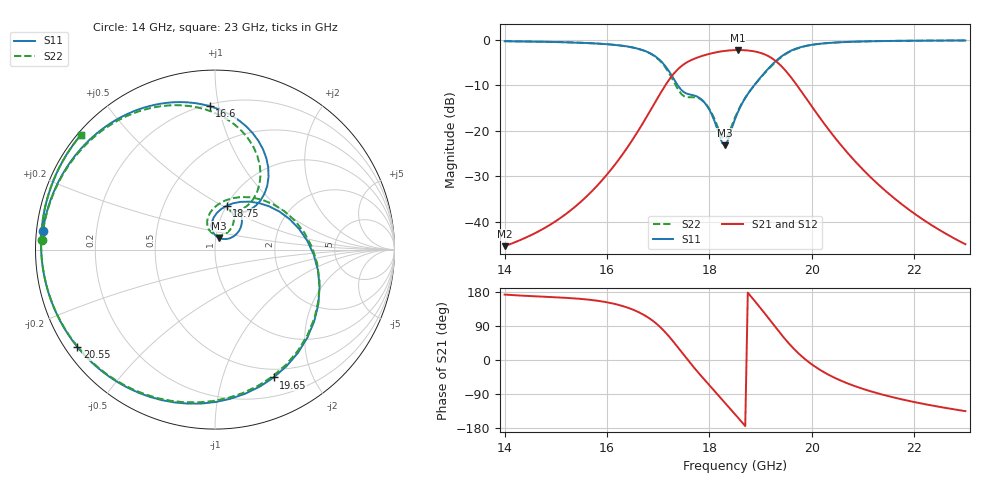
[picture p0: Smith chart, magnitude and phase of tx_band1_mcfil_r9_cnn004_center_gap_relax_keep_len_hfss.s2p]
! Touchstone file exported from HFSS 3D Layout Design 2026.1.0
!  File:  D:/Work/SIM/ADS_AUTO_SIM/projects/RFSOC_RF/TX_Fillter.aedt
!  Generated:  11:36:10 PM Aug 30, 2026
!  Design:  TX_BAND1_MCFIL_R9_CNN004
!  Project:  TX_Fillter
# GHz S MA R 50.000000
! Terminal data exported
! Port[1] = Port1
! Port[2] = Port2
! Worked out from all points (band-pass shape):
!   181 points, 14 GHz to 23 GHz, reference 50 ohm
!   highest |S21| = -2.26 dB at 18.55 GHz (marker M1); lowest = -45.4 dB at 14 GHz (marker M2)
!   |S21| within 3 dB of the highest: 17.52 GHz to 19.36 GHz (1.836 GHz wide, 9.96 % of centre)
!   lowest |S11| = -23.2 dB at 18.3 GHz (marker M3), VSWR 1.15, Z = 52 + j6.75 ohm
!   |S11| at or under -10 dB: 17.38 GHz to 18.88 GHz (1.494 GHz wide, 8.24 % of centre)
!   |S22| runs from -21.8 to -0.1 dB; largest |S21 - S12| = 1.4e-14
!   S11 on the Smith chart (normalised r, x): 14 GHz: 0.02, +0.05; 16.6 GHz: 0.21, +0.94; 18.75 GHz: 1.00, +0.52; 19.65 GHz: 0.40, -1.48; 20.55 GHz: 0.03, -0.32; 23 GHz: 0.01, +0.37
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14  0.9649 173.9  0.005353 172.6  0.005353 172.6  0.9657 176.7
15.5  0.9266 137.4  0.01671 161.1  0.01671 161.1  0.9278 141.3
16.1  0.8843 116.5  0.03858 149.5  0.03858 149.5  0.8852 121.0
16.6  0.7996 92.1  0.09761 127.4  0.09761 127.4  0.7982 97.0
17  0.621 64.6  0.2346 91.7  0.2346 91.7  0.6117 69.5
17.35  0.3363 47.1  0.453 39.2  0.453 39.2  0.3099 53.4
17.55  0.2565 54.1  0.5601 4.8  0.5601 4.8  0.2341 66.0
17.7  0.2443 54.1  0.6172 -20.0  0.6172 -20.0  0.2334 68.4
18.05  0.1489 36.0  0.7117 -74.3  0.7117 -74.3  0.1542 52.9
18.3  0.06879 70.1  0.7548 -112.4  0.7548 -112.4  0.08109 82.5
18.5  0.1337 98.3  0.77 -143.1  0.77 -143.1  0.1395 107.7
18.55  0.157 95.9  0.771 -150.8  0.771 -150.8  0.1617 105.8
18.75  0.2526 75.2  0.763 177.8  0.763 177.8  0.254 85.6
18.95  0.3571 46.5  0.7306 145.1  0.7306 145.1  0.354 55.3
19.15  0.4819 14.0  0.6617 110.9  0.6617 110.9  0.4738 19.8
19.4  0.6514 -27.9  0.5169 68.0  0.5169 68.0  0.6411 -25.8
19.65  0.7837 -65.4  0.3514 29.5  0.3514 29.5  0.776 -65.6
20  0.8813 -105.0  0.1849 -11.5  0.1849 -11.5  0.8783 -106.6
20.55  0.9393 -144.8  0.07151 -53.4  0.07151 -53.4  0.9394 -146.6
20.95  0.9574 -164.2  0.03982 -74.1  0.03982 -74.1  0.9581 -165.7
21.5  0.9708 175.9  0.02031 -95.5  0.02031 -95.5  0.9714 174.8
23  0.9832 139.6  0.005623 -135.0  0.005623 -135.0  0.9835 139.4
